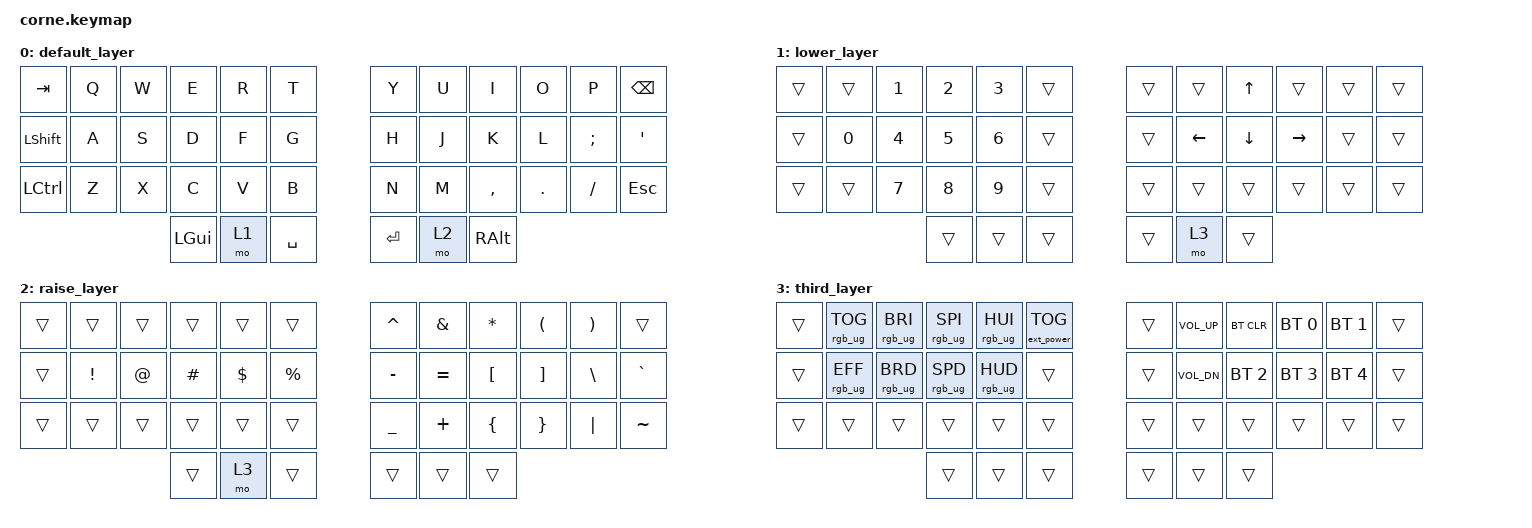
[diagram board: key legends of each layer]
/*
 * Copyright (c) 2020 The ZMK Contributors
 *
 * SPDX-License-Identifier: MIT
 */

#include <behaviors.dtsi>
#include <dt-bindings/zmk/keys.h>
#include <dt-bindings/zmk/bt.h>
#include <dt-bindings/zmk/rgb.h>
#include <dt-bindings/zmk/ext_power.h>

/ {
        keymap {
                compatible = "zmk,keymap";

                default_layer {

                        bindings = <
                        &kp TAB   &kp Q &kp W &kp E    &kp R &kp T      &kp Y   &kp U  &kp I     &kp O   &kp P    &kp BSPC
                        &kp LSHFT &kp A &kp S &kp D    &kp F &kp G      &kp H   &kp J  &kp K     &kp L   &kp SEMI &kp SQT
                        &kp LCTRL &kp Z &kp X &kp C    &kp V &kp B      &kp N   &kp M  &kp COMMA &kp DOT &kp FSLH &kp ESC
                                              &kp LGUI &mo 1 &kp SPACE  &kp RET &mo 2  &kp RALT
                        >;
                };
                lower_layer {

                        bindings = <
                        &trans     &trans  &kp N1       &kp N2       &kp N3    &trans     &trans     &trans     &kp UP     &trans      &trans &trans
                        &trans     &kp N0  &kp N4       &kp N5       &kp N6    &trans     &trans     &kp LEFT   &kp DOWN   &kp RIGHT   &trans &trans
                        &trans     &trans  &kp N7       &kp N8       &kp N9    &trans     &trans     &trans     &trans     &trans      &trans &trans
                                                        &trans       &trans    &trans     &trans    &mo 3      &trans
                        >;
                };
                
                raise_layer {

                        bindings = <
                        &trans     &trans     &trans     &trans      &trans    &trans      &kp CARET &kp AMPS  &kp ASTRK &kp LPAR &kp RPAR &trans
                        &trans     &kp EXCL   &kp AT     &kp HASH    &kp DLLR  &kp PRCNT   &kp MINUS &kp EQUAL &kp LBKT  &kp RBKT &kp BSLH &kp GRAVE
                        &trans     &trans     &trans     &trans      &trans    &trans      &kp UNDER &kp PLUS  &kp LBRC  &kp RBRC &kp PIPE &kp TILDE
                                                         &trans      &mo 3     &trans      &trans    &trans    &trans
                        >;
                };   

                third_layer {

                        bindings = <
                        &trans &rgb_ug RGB_TOG &rgb_ug RGB_BRI   &rgb_ug RGB_SPI &rgb_ug RGB_HUI &ext_power EP_TOG  &trans      &kp C_VOL_UP   &bt BT_CLR   &bt BT_SEL 0 &bt BT_SEL 1  &trans
                        &trans &rgb_ug RGB_EFF &rgb_ug RGB_BRD   &rgb_ug RGB_SPD &rgb_ug RGB_HUD &trans             &trans      &kp C_VOL_DN   &bt BT_SEL 2 &bt BT_SEL 3 &bt BT_SEL 4  &trans
                        &trans &trans          &trans            &trans          &trans          &trans             &trans      &trans         &trans       &trans       &trans        &trans
                                                                 &trans          &trans          &trans             &trans      &trans         &trans
                        >;
                };
        };
};

&led_strip {
        chain-length = <27>; // Adjust this based on the number of LEDs
};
